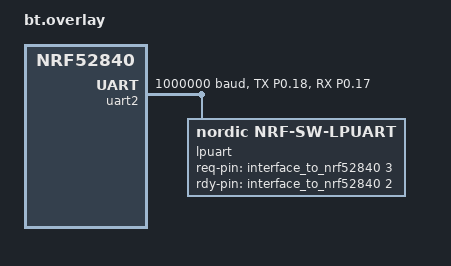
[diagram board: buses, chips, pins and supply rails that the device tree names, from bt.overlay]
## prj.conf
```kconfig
#
# Copyright (c) 2020 Nordic Semiconductor ASA
#
# SPDX-License-Identifier: LicenseRef-Nordic-5-Clause
#
# General config

CONFIG_MOSH_IPERF3=y
CONFIG_MOSH_SOCK=y
CONFIG_MOSH_PING=y
CONFIG_MOSH_CURL=y
CONFIG_MOSH_LINK=y
CONFIG_MOSH_SMS=y
CONFIG_MOSH_GNSS=y
CONFIG_MOSH_LOCATION=y

# Stacks and heaps
CONFIG_MAIN_STACK_SIZE=4096
CONFIG_HEAP_MEM_POOL_SIZE=8192

# System queue is used e.g. by AT monitor and SMS lib
CONFIG_SYSTEM_WORKQUEUE_STACK_SIZE=2048

# Shell configurations
CONFIG_SHELL=y
CONFIG_SHELL_WILDCARD=n
CONFIG_SHELL_PROMPT_UART="mosh:~$ "
CONFIG_SHELL_ARGC_MAX=40
# Command line buffer is set this large to enable writing of certificates and injecting A-GPS data on command line.
CONFIG_SHELL_CMD_BUFF_SIZE=3584
# Shell stack has impact for modem shell application, not CONFIG_MAIN_STACK_SIZE
CONFIG_SHELL_STACK_SIZE=9216
# Shell RX buffer needs to be increased to avoid problems with test automation
CONFIG_SHELL_BACKEND_SERIAL_RX_RING_BUFFER_SIZE=512
# LTE shell is unnecessary with Modem Shell
CONFIG_LTE_SHELL=n
# Enable use of vsnprintfcb() for extending mosh_print() format
CONFIG_CBPRINTF_LIBC_SUBSTS=y

CONFIG_MINIMAL_LIBC=n
CONFIG_NEWLIB_LIBC=y
CONFIG_NEWLIB_LIBC_FLOAT_SCANF=y
CONFIG_NEWLIB_LIBC_FLOAT_PRINTF=y
CONFIG_FPU=y
CONFIG_CJSON_LIB=y

# Getopt
CONFIG_GETOPT_LIB=y
# Need to disable devmem shell since it enforces Zephyr's internal version of getopt
CONFIG_DEVMEM_SHELL=n

# Device power management
CONFIG_PM_DEVICE=y

# Modem info
CONFIG_MODEM_INFO=y

# Modem key management
CONFIG_MODEM_KEY_MGMT=y

# Network
CONFIG_NETWORKING=y
CONFIG_NET_NATIVE=n
CONFIG_NET_SOCKETS=y
CONFIG_NET_SOCKETS_OFFLOAD=y
CONFIG_NET_SOCKETS_POSIX_NAMES=n
# Native IPv6 is enabled by default, disable it because we don't need it
CONFIG_NET_IPV6=n

CONFIG_POSIX_API=y
CONFIG_PTHREAD_IPC=n # There are issues with posix api if this is set
CONFIG_POSIX_MAX_FDS=10
# Need to be the same as MAX_FDS
CONFIG_NET_SOCKETS_POLL_MAX=10

# Modem library
CONFIG_NRF_MODEM_LIB=y
CONFIG_NRF_MODEM_LIB_SHMEM_TX_SIZE=22528
CONFIG_NRF_MODEM_LIB_SHMEM_RX_SIZE=8192
CONFIG_NRF_MODEM_LIB_ON_FAULT_APPLICATION_SPECIFIC=y
# Enable modem UART traces
CONFIG_NRF_MODEM_LIB_TRACE=n

# AT monitor library
CONFIG_AT_MONITOR=y

# Increase AT monitor heap because %NCELLMEAS notifications can be long.
# Note: with legacy NCELLMEAS types, 512 is enough, but with GCI search types
# it could be even longer: theoretical maximum of 4020 bytes.
CONFIG_AT_MONITOR_HEAP_SIZE=4096

# PDN library
CONFIG_PDN=y
CONFIG_PDN_ESM_STRERROR=y

# PDN library is dependent on AT hooks
CONFIG_AT_CMD_HOOK=y

# SMS
CONFIG_SMS=y

# LTE link control
CONFIG_LTE_LINK_CONTROL=y
CONFIG_LTE_NETWORK_MODE_LTE_M_GPS=y
CONFIG_LTE_MODE_PREFERENCE_AUTO=y

CONFIG_LTE_NETWORK_USE_FALLBACK=n

#MOSH is having own commands to enable these at runtime:
CONFIG_LTE_LC_MODEM_SLEEP_NOTIFICATIONS=n
CONFIG_LTE_LC_TAU_PRE_WARNING_NOTIFICATIONS=n

#Minimum values for thresholds:
CONFIG_LTE_LC_TAU_PRE_WARNING_THRESHOLD_MS=10240
CONFIG_LTE_LC_MODEM_SLEEP_NOTIFICATIONS_THRESHOLD_MS=10240

# Configurations useful for debugging and development that user can enable when needed
#CONFIG_LTE_LOCK_PLMN=y
#CONFIG_LTE_LOCK_PLMN_STRING="24488"
#CONFIG_LTE_NETWORK_MODE_LTE_M_GPS=y

CONFIG_DATE_TIME=y

# nRF Cloud A-GPS, disable this in case you want to enable SUPL below
CONFIG_NRF_CLOUD_AGPS=y

# SUPL A-GPS support, needs the nRF9160 SiP SUPL client library from nRF9160 DK product page
#CONFIG_SUPL_CLIENT_LIB=y

# Cellular positioning
CONFIG_LTE_NEIGHBOR_CELLS_MAX=17

# Cellular positioning services
#CONFIG_LOCATION_SERVICE_NRF_CLOUD=n
#CONFIG_LOCATION_SERVICE_HERE=y
#CONFIG_LOCATION_SERVICE_HERE_API_KEY=""

# Library for buttons and LEDs
CONFIG_DK_LIBRARY=y

# FOTA
CONFIG_FLASH=y
CONFIG_REBOOT=y
CONFIG_DFU_TARGET=y
CONFIG_FOTA_DOWNLOAD=y
CONFIG_DOWNLOAD_CLIENT=y
# BOOTLOADER_MCUBOOT reduces usable flash size by half so it's disabled by default
# This means application FOTA is disabled. Modem FOTA works without these.
CONFIG_BOOTLOADER_MCUBOOT=n
CONFIG_IMG_MANAGER=n
CONFIG_IMG_ERASE_PROGRESSIVELY=n

# Settings
CONFIG_FLASH=y
CONFIG_FLASH_MAP=y
CONFIG_MPU_ALLOW_FLASH_WRITE=y
CONFIG_NVS=y
CONFIG_SETTINGS=y
CONFIG_SETTINGS_NVS=y
CONFIG_NVS_LOG_LEVEL_WRN=y

# Debugging configurations
CONFIG_ASSERT=y
CONFIG_LOG=y
# Keep printk() synchronous
CONFIG_LOG_PRINTK=n
CONFIG_DEBUG_INFO=y
#CONFIG_DEBUG_OPTIMIZATIONS=y
#CONFIG_NO_OPTIMIZATIONS=y
#CONFIG_FORCE_NO_ASSERT=y
CONFIG_ASSERT_VERBOSE=y
#CONFIG_ASSERT_LEVEL=2
#CONFIG_ASSERT_ON_ERRORS=y
#CONFIG_FAULT_DUMP=2
CONFIG_RESET_ON_FATAL_ERROR=n
CONFIG_EXTRA_EXCEPTION_INFO=y
#CONFIG_WATCHDOG=y
CONFIG_SYS_HEAP_RUNTIME_STATS=y
```

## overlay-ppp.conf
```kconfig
#
# Copyright (c) 2020 Nordic Semiconductor
#
# SPDX-License-Identifier: LicenseRef-Nordic-5-Clause
#

# Enable PPP MoSH support:
CONFIG_MOSH_PPP=y
CONFIG_MOSH_IPERF3=y
CONFIG_MOSH_WORKER_THREADS=n
CONFIG_MOSH_SOCK=n
CONFIG_MOSH_PING=y
CONFIG_MOSH_CURL=n
CONFIG_MOSH_LINK=y
CONFIG_MOSH_GNSS=n
CONFIG_MOSH_SMS=n
CONFIG_MOSH_LOCATION=n
CONFIG_MOSH_REST=n
CONFIG_DATE_TIME=n
CONFIG_SMS=n

# UARTs are switched
CONFIG_NET_PPP_UART_NAME="UART_0"

# Enable net shell commands
CONFIG_NET_SHELL=y
CONFIG_NET_STATISTICS_PPP=y
CONFIG_NET_STATISTICS_USER_API=y

# Enable needed stuff from native net stack
CONFIG_NET_NATIVE=y
CONFIG_NET_STATISTICS=y
CONFIG_NET_STATISTICS_PPP=y
CONFIG_NET_STATISTICS_IPV4=n
CONFIG_NET_STATISTICS_ICMP=n
CONFIG_NET_STATISTICS_UDP=n

CONFIG_NET_LOG=y
CONFIG_NET_CONFIG_AUTO_INIT=y

CONFIG_NET_SOCKETS=y
CONFIG_NET_SOCKETS_PACKET=y
CONFIG_NET_SOCKETS_PACKET_DGRAM=n

CONFIG_NET_IF_MAX_IPV4_COUNT=2
CONFIG_NET_IF_MAX_IPV6_COUNT=2

CONFIG_NET_IPV4=y
CONFIG_NET_IPV6=y

CONFIG_NET_IP_ADDR_CHECK=n

CONFIG_NET_DRIVERS=y

# Default PPP net_if
CONFIG_NET_DEFAULT_IF_PPP=y
CONFIG_PPP_NET_IF_NO_AUTO_START=y

# Asynch UART API used for PPP
CONFIG_SERIAL=y

CONFIG_UART_ASYNC_API=y
CONFIG_UART_LINE_CTRL=y

CONFIG_UART_0_INTERRUPT_DRIVEN=n
CONFIG_UART_0_ASYNC=y
CONFIG_UART_0_NRF_HW_ASYNC=y
CONFIG_UART_0_NRF_HW_ASYNC_TIMER=1
#CONFIG_UART_0_NRF_ASYNC_LOW_POWER=y

CONFIG_NET_PPP_UART_BUF_LEN=2048
CONFIG_NET_PPP_ASYNC_UART_TX_BUF_LEN=4096

#CONFIG_NET_PPP_RX_PRIORITY=15
CONFIG_NET_PPP_DRV_NAME="ppp"
CONFIG_NET_PPP_RINGBUF_SIZE=4096
CONFIG_NET_PPP_RX_STACK_SIZE=2048
CONFIG_NET_PPP_VERIFY_FCS=n
#CONFIG_NET_PPP_ASYNC_UART_RX_ENABLE_TIMEOUT=10
#CONFIG_NET_PPP_ASYNC_UART_TX_TIMEOUT=10

#CONFIG_NRF_MODEM_LIB_SHMEM_TX_SIZE=32768
#CONFIG_NRF_MODEM_LIB_SHMEM_RX_SIZE=32768

# UART PPP driver
CONFIG_NET_PPP=y
CONFIG_NET_PPP_ASYNC_UART=y

# L2 protocol configs
CONFIG_NET_L2_PPP=y
CONFIG_NET_L2_PPP_MGMT=y
#CONFIG_NET_L2_PPP_TIMEOUT=5000
#CONFIG_NET_L2_PPP_DELAY_STARTUP_MS=5000

CONFIG_NET_L2_PPP_OPTION_MRU=y
CONFIG_NET_L2_PPP_OPTION_SERVE_IP=y
CONFIG_NET_L2_PPP_OPTION_SERVE_DNS=y
CONFIG_NET_L2_PPP_MAX_TERMINATE_REQ_RETRANSMITS=1

# Windows support
CONFIG_PPP_CLIENT_CLIENTSERVER=y

# Default PPP MRU option config
CONFIG_NET_PPP_MTU_MRU=1280

# Network buffers
CONFIG_NET_BUF=y
CONFIG_NET_BUF_DATA_SIZE=128
CONFIG_NET_BUF_POOL_USAGE=y

CONFIG_NET_PKT_RX_COUNT=44
CONFIG_NET_BUF_RX_COUNT=88

CONFIG_NET_PKT_TX_COUNT=44
CONFIG_NET_BUF_TX_COUNT=88

CONFIG_NET_TC_RX_COUNT=0

# UART traces cannot be enabled
CONFIG_NRF_MODEM_LIB_TRACE=n

# Debug options
CONFIG_NET_PPP_LOG_LEVEL_WRN=y
CONFIG_NET_L2_PPP_LOG_LEVEL_WRN=y
CONFIG_NET_CORE_LOG_LEVEL_WRN=y
CONFIG_NET_IF_LOG_LEVEL_WRN=y

CONFIG_NET_PKT_LOG_LEVEL_WRN=y
CONFIG_NET_DEBUG_NET_PKT_ALLOC=y

CONFIG_NET_CONTEXT_LOG_LEVEL_WRN=y
CONFIG_UART_CONSOLE_LOG_LEVEL_WRN=y

CONFIG_NET_BUF_LOG_LEVEL_OFF=y

CONFIG_NET_CONN_LOG_LEVEL_WRN=y
CONFIG_NET_BUF_WARN_ALLOC_INTERVAL=0

CONFIG_ASSERT=y
CONFIG_RESET_ON_FATAL_ERROR=n
CONFIG_LOG_PROCESS_THREAD_STACK_SIZE=4096
```

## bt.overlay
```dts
/*
 * Copyright (c) 2022 Nordic Semiconductor ASA
 *
 * SPDX-License-Identifier: LicenseRef-Nordic-5-Clause
 */

#include <nrf9160dk_nrf52840_reset_on_if5.dtsi>

/ {
	chosen {
		zephyr,bt-uart=&lpuart;
	};
};

&gpiote {
	interrupts = <49 NRF_DEFAULT_IRQ_PRIORITY>;
};

&uart2 {
	current-speed = <1000000>;
	status = "okay";
	/delete-property/ rts-pin;
	/delete-property/ cts-pin;
	/delete-property/ hw-flow-control;

	pinctrl-0 = <&uart2_default_alt>;
	pinctrl-1 = <&uart2_sleep_alt>;
	lpuart: nrf-sw-lpuart {
		compatible = "nordic,nrf-sw-lpuart";
		status = "okay";
		req-pin-gpios = <&interface_to_nrf52840 3 0>;
		rdy-pin-gpios = <&interface_to_nrf52840 2 0>;
	};
};
&uart1 {
	status = "disabled";
};

&pinctrl {
	uart2_default_alt: uart2_default_alt {
		group1 {
			psels = <NRF_PSEL(UART_TX, 0, 18)>,
				<NRF_PSEL(UART_RX, 0, 17)>;
		};
	};

	uart2_sleep_alt: uart2_sleep_alt {
		group1 {
			psels = <NRF_PSEL(UART_TX, 0, 18)>,
				<NRF_PSEL(UART_RX, 0, 17)>;
			low-power-enable;
		};
	};
};
```

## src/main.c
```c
/*
 * Copyright (c) 2020 Nordic Semiconductor ASA
 *
 * SPDX-License-Identifier: LicenseRef-Nordic-5-Clause
 */

#include <stdio.h>
#include <string.h>

#include <zephyr/kernel.h>
#include <zephyr/init.h>
#include <nrf_modem.h>

#include <sys/types.h>
#include <zephyr/logging/log_ctrl.h>
#include <zephyr/sys/reboot.h>
#include <zephyr/dfu/mcuboot.h>

#include <zephyr/shell/shell.h>
#if defined(CONFIG_SHELL_BACKEND_SERIAL)
#include <zephyr/shell/shell_uart.h>
#else
#include <zephyr/shell/shell_rtt.h>
#endif

#include <modem/nrf_modem_lib.h>
#include <modem/at_monitor.h>
#include <modem/modem_info.h>
#include <modem/lte_lc.h>

#include <net/nrf_cloud_os.h>

#include <dk_buttons_and_leds.h>
#include "uart/uart_shell.h"

#if defined(CONFIG_MOSH_PPP)
#include "ppp_ctrl.h"
#endif

#if defined(CONFIG_MOSH_LINK)
#include "link.h"
#endif

#if defined(CONFIG_MOSH_GNSS)
#include "gnss.h"
#endif

#if defined(CONFIG_MOSH_FOTA)
#include "fota.h"
#endif
#if defined(CONFIG_MOSH_WORKER_THREADS)
#include "th/th_ctrl.h"
#endif
#include "mosh_defines.h"
#include "mosh_print.h"

#if defined(CONFIG_MOSH_LOCATION)
#include "location_shell.h"
#endif

#if defined(CONFIG_MOSH_STARTUP_CMDS)
#include "startup_cmd_ctrl.h"
#endif

#if defined(CONFIG_MOSH_AT_CMD_MODE)
#include "at_cmd_mode.h"
#include "at_cmd_mode_sett.h"
#endif

BUILD_ASSERT(IS_ENABLED(CONFIG_SHELL_BACKEND_SERIAL) || IS_ENABLED(CONFIG_SHELL_BACKEND_RTT),
	     "CONFIG_SHELL_BACKEND_SERIAL or CONFIG_SHELL_BACKEND_RTT shell backend must be "
	     "enabled");

/***** Work queue and work item definitions *****/

#define MOSH_COMMON_WORKQ_PRIORITY CONFIG_MOSH_COMMON_WORKQUEUE_PRIORITY
K_THREAD_STACK_DEFINE(mosh_common_workq_stack, CONFIG_MOSH_COMMON_WORKQUEUE_STACK_SIZE);
struct k_work_q mosh_common_work_q;

/* Global variables */
const struct shell *mosh_shell;
struct k_poll_signal mosh_signal;

char mosh_at_resp_buf[MOSH_AT_CMD_RESPONSE_MAX_LEN];
K_MUTEX_DEFINE(mosh_at_resp_buf_mutex);

K_SEM_DEFINE(mosh_carrier_lib_initialized, 0, 1);

static const char *modem_crash_reason_get(uint32_t reason)
{
	switch (reason) {
	case NRF_MODEM_FAULT_UNDEFINED:
		return "Undefined fault";

	case NRF_MODEM_FAULT_HW_WD_RESET:
		return "HW WD reset";

	case NRF_MODEM_FAULT_HARDFAULT:
		return "Hard fault";

	case NRF_MODEM_FAULT_MEM_MANAGE:
		return "Memory management fault";

	case NRF_MODEM_FAULT_BUS:
		return "Bus fault";

	case NRF_MODEM_FAULT_USAGE:
		return "Usage fault";

	case NRF_MODEM_FAULT_SECURE_RESET:
		return "Secure control reset";

	case NRF_MODEM_FAULT_PANIC_DOUBLE:
		return "Error handler crash";

	case NRF_MODEM_FAULT_PANIC_RESET_LOOP:
		return "Reset loop";

	case NRF_MODEM_FAULT_ASSERT:
		return "Assert";

	case NRF_MODEM_FAULT_PANIC:
		return "Unconditional SW reset";

	case NRF_MODEM_FAULT_FLASH_ERASE:
		return "Flash erase fault";

	case NRF_MODEM_FAULT_FLASH_WRITE:
		return "Flash write fault";

	case NRF_MODEM_FAULT_POFWARN:
		return "Undervoltage fault";

	case NRF_MODEM_FAULT_THWARN:
		return "Overtemperature fault";

	default:
		return "Unknown reason";
	}
}

void nrf_modem_fault_handler(struct nrf_modem_fault_info *fault_info)
{
	printk("Modem crash reason: 0x%x (%s), PC: 0x%x\n",
		fault_info->reason,
		modem_crash_reason_get(fault_info->reason),
		fault_info->program_counter);

	__ASSERT(false, "Modem crash detected, halting application execution");
}

NRF_MODEM_LIB_ON_INIT(modem_shell_init_hook, on_modem_lib_init, NULL);

/* Initialized to value different than success (0) */
static int modem_lib_init_result = -1;

static void on_modem_lib_init(int ret, void *ctx)
{
	modem_lib_init_result = ret;
}

static void mosh_print_version_info(void)
{
#if defined(APP_VERSION)
	printk("\nMOSH version:       %s", STRINGIFY(APP_VERSION));
#else
	printk("\nMOSH version:       unknown");
#endif

#if defined(BUILD_ID)
	printk("\nMOSH build id:      v%s", STRINGIFY(BUILD_ID));
#else
	printk("\nMOSH build id:      custom");
#endif

#if defined(BUILD_VARIANT)
#if defined(BRANCH_NAME)
	printk("\nMOSH build variant: %s/%s\n\n", STRINGIFY(BRANCH_NAME), STRINGIFY(BUILD_VARIANT));
#else
	printk("\nMOSH build variant: %s\n\n", STRINGIFY(BUILD_VARIANT));
#endif
#else
	printk("\nMOSH build variant: dev\n\n");
#endif
}

#if defined(CONFIG_DK_LIBRARY)
static void button_handler(uint32_t button_states, uint32_t has_changed)
{
	if (has_changed & button_states & DK_BTN1_MSK) {
		mosh_print("Button 1 pressed - raising a kill signal");
		k_poll_signal_raise(&mosh_signal, MOSH_SIGNAL_KILL);
#if defined(CONFIG_MOSH_WORKER_THREADS)
		th_ctrl_kill_em_all();
#endif
	} else if (has_changed & ~button_states & DK_BTN1_MSK) {
		mosh_print("Button 1 released - resetting a kill signal");
		k_poll_signal_reset(&mosh_signal);
	}

	if (has_changed & button_states & DK_BTN2_MSK) {
		/* printk() used instead of mosh_print() which returns before the printing is
		 * actually finished and UART gets shut down in the meantime causing a jam.
		 */
		printk("\nButton 2 pressed, toggling UART power state\n");
		uart_toggle_power_state();
	}
}
#endif

void main(void)
{
	int err;
	struct k_work_queue_config cfg = {
		.name = "mosh_common_workq",
	};

#if defined(CONFIG_SHELL_BACKEND_SERIAL)
	mosh_shell = shell_backend_uart_get_ptr();
#else
	mosh_shell = shell_backend_rtt_get_ptr();
#endif

	__ASSERT(mosh_shell != NULL, "Failed to get shell backend");

	mosh_print_version_info();

#if defined(CONFIG_NRF_CLOUD_REST) || defined(CONFIG_NRF_CLOUD_MQTT)
#if defined(CONFIG_MOSH_IPERF3)
	/* Due to iperf3, we cannot let nrf cloud lib to initialize cJSON lib to be
	 * using kernel heap allocations (i.e. k_ prepending functions).
	 * Thus, we use standard c alloc/free, i.e. "system heap".
	 */
	struct nrf_cloud_os_mem_hooks hooks = {
		.malloc_fn = malloc,
		.calloc_fn = calloc,
		.free_fn = free,
	};
#else
	/* else: we default to Kernel heap */
	struct nrf_cloud_os_mem_hooks hooks = {
		.malloc_fn = k_malloc,
		.calloc_fn = k_calloc,
		.free_fn = k_free,
	};
#endif

	nrf_cloud_os_mem_hooks_init(&hooks);
#endif

	k_work_queue_start(
		&mosh_common_work_q,
		mosh_common_workq_stack,
		K_THREAD_STACK_SIZEOF(mosh_common_workq_stack),
		MOSH_COMMON_WORKQ_PRIORITY,
		&cfg);

#if !defined(CONFIG_LWM2M_CARRIER)
	/* Get Modem library initialization return value. */
	err = modem_lib_init_result;
	switch (err) {
	case 0:
		/* Modem library was initialized successfully. */
		break;
	case MODEM_DFU_RESULT_OK:
		printk("Modem firmware update successful!\n");
		printk("Modem will run the new firmware after reboot\n");
		sys_reboot(SYS_REBOOT_WARM);
		return;
	case MODEM_DFU_RESULT_UUID_ERROR:
	case MODEM_DFU_RESULT_AUTH_ERROR:
		printk("Modem firmware update failed!\n");
		printk("Modem will run non-updated firmware on reboot.\n");
		sys_reboot(SYS_REBOOT_WARM);
		return;
	case MODEM_DFU_RESULT_HARDWARE_ERROR:
	case MODEM_DFU_RESULT_INTERNAL_ERROR:
		printk("Modem firmware update failed!\n");
		printk("Fatal error.\n");
		sys_reboot(SYS_REBOOT_WARM);
		return;
	case MODEM_DFU_RESULT_VOLTAGE_LOW:
		printk("Modem firmware update failed\n");
		printk("Please reboot once you have sufficient power for the DFU\n");
		break;
	default:
		/* Modem library initialization failed. */
		printk("Could not initialize modemlib.\n");
		printk("Fatal error.\n");
		return;
	}
#else
	/* Wait until the LwM2M carrier library has initialized the modem library. */
	k_sem_take(&mosh_carrier_lib_initialized, K_FOREVER);
#endif
	lte_lc_init();
#if defined(CONFIG_MOSH_PPP)
	ppp_ctrl_init();
#endif
#if defined(CONFIG_MOSH_WORKER_THREADS)
	th_ctrl_init();
#endif
#if defined(CONFIG_MOSH_FOTA)
	err = fota_init();
	if (err) {
		printk("Could not initialize FOTA: %d\n", err);
	}
#endif

#if defined(CONFIG_MOSH_LOCATION)
	/* Location library should be initialized before LTE normal mode */
	location_ctrl_init();
#endif
#if defined(CONFIG_LTE_LINK_CONTROL) && defined(CONFIG_MOSH_LINK)
	link_init();
#endif

#if defined(CONFIG_MODEM_INFO)
	err = modem_info_init();
	if (err) {
		printk("Modem info could not be established: %d\n", err);
		return;
	}
#endif

#if defined(CONFIG_DK_LIBRARY)
	err = dk_buttons_init(button_handler);
	if (err) {
		printk("Failed to initialize DK buttons library, error: %d\n", err);
	}
	err = dk_leds_init();
	if (err) {
		printk("Cannot initialize LEDs (err: %d)\n", err);
	}
#endif
	/* Application started successfully, mark image as OK to prevent
	 * revert at next reboot.
	 */
#if defined(CONFIG_BOOTLOADER_MCUBOOT)
	boot_write_img_confirmed();
#endif
	k_poll_signal_init(&mosh_signal);

#if defined(CONFIG_SHELL_BACKEND_SERIAL)
	/* Resize terminal width and height of the shell to have proper command editing. */
	shell_execute_cmd(mosh_shell, "resize");
#endif

#if defined(CONFIG_MOSH_STARTUP_CMDS)
	startup_cmd_ctrl_init();
#endif

#if defined(CONFIG_MOSH_AT_CMD_MODE)
	at_cmd_mode_sett_init();
	if (at_cmd_mode_sett_is_autostart_enabled()) {
		/* Start directly in AT cmd mode */
		at_cmd_mode_start(mosh_shell);
	}
#endif
}
```

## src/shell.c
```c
/*
 * Copyright (c) 2020 Nordic Semiconductor ASA
 *
 * SPDX-License-Identifier: LicenseRef-Nordic-5-Clause
 */

#include <stdlib.h>

#include <zephyr.h>
#include <device.h>
#include <shell/shell.h>
#include <modem/lte_lc.h>
#include <modem/nrf_modem_lib.h>

#if defined(CONFIG_LWM2M_CARRIER)
#include <lwm2m_carrier.h>
#endif
#if defined(CONFIG_MOSH_PING)
#include "ping/icmp_ping_shell.h"
#endif
#if defined(CONFIG_MOSH_SOCK)
#include "sock/sock_shell.h"
#endif
#if defined(CONFIG_MOSH_IPERF3)
#include <posix/sys/select.h>
#include <iperf_api.h>
#endif
#if defined(CONFIG_MOSH_LINK)
#include "link_shell.h"
#endif
#if defined(CONFIG_MOSH_CURL)
#include <nrf_curl.h>
#endif
#if defined(CONFIG_MOSH_SMS)
#include "sms/sms_shell.h"
#endif
#if defined(CONFIG_MOSH_LOCATION)
#include "location_shell.h"
#endif
#if defined(CONFIG_MOSH_PPP)
#include "ppp/ppp_shell.h"
#endif
#if defined(CONFIG_MOSH_REST)
#include "rest_shell.h"
#endif
#include "uart/uart_shell.h"
#include "mosh_print.h"

extern struct k_sem nrf_modem_lib_initialized;
extern struct k_poll_signal mosh_signal;
/**
 * @brief Modem fault handler.
 */
void nrf_modem_fault_handler(struct nrf_modem_fault_info *fault_info)
{
	mosh_error("modem lib recoverable error: %u\n", fault_info->reason);
}

#if defined(CONFIG_LWM2M_CARRIER)
void lwm2m_print_err(const lwm2m_carrier_event_t *evt)
{
	const lwm2m_carrier_event_error_t *err = (lwm2m_carrier_event_error_t *)evt->data;

	static const char * const strerr[] = {
		[LWM2M_CARRIER_ERROR_NO_ERROR] =
			"No error",
		[LWM2M_CARRIER_ERROR_BOOTSTRAP] =
			"Bootstrap error",
		[LWM2M_CARRIER_ERROR_CONNECT_FAIL] =
			"Failed to connect to the LTE network",
		[LWM2M_CARRIER_ERROR_DISCONNECT_FAIL] =
			"Failed to disconnect from the LTE network",
		[LWM2M_CARRIER_ERROR_FOTA_PKG] =
			"Package refused from modem",
		[LWM2M_CARRIER_ERROR_FOTA_PROTO] =
			"Protocol error",
		[LWM2M_CARRIER_ERROR_FOTA_CONN] =
			"Connection to remote server failed",
		[LWM2M_CARRIER_ERROR_FOTA_CONN_LOST] =
			"Connection to remote server lost",
		[LWM2M_CARRIER_ERROR_FOTA_FAIL] =
			"Modem firmware update failed",
	};

	mosh_error("%s, reason %d\n", strerr[err->code], err->value);
}

void lwm2m_print_deferred(const lwm2m_carrier_event_t *evt)
{
	const lwm2m_carrier_event_deferred_t *def = (lwm2m_carrier_event_deferred_t *)evt->data;

	static const char *const strdef[] = {
		[LWM2M_CARRIER_DEFERRED_NO_REASON] =
			"No reason given",
		[LWM2M_CARRIER_DEFERRED_PDN_ACTIVATE] =
			"Failed to activate PDN",
		[LWM2M_CARRIER_DEFERRED_BOOTSTRAP_NO_ROUTE] =
			"No route to bootstrap server",
		[LWM2M_CARRIER_DEFERRED_BOOTSTRAP_CONNECT] =
			"Failed to connect to bootstrap server",
		[LWM2M_CARRIER_DEFERRED_BOOTSTRAP_SEQUENCE] =
			"Bootstrap sequence not completed",
		[LWM2M_CARRIER_DEFERRED_SERVER_NO_ROUTE] =
			"No route to server",
		[LWM2M_CARRIER_DEFERRED_SERVER_CONNECT] =
			"Failed to connect to server",
		[LWM2M_CARRIER_DEFERRED_SERVER_REGISTRATION] =
			"Server registration sequence not completed",
		[LWM2M_CARRIER_DEFERRED_SERVICE_UNAVAILABLE] =
			"Server in maintenance mode",
		[LWM2M_CARRIER_DEFERRED_SIM_MSISDN] =
			"Waiting for SIM MSISDN",
	};

	mosh_error("Reason: %s, timeout: %d seconds\n", strdef[def->reason], def->timeout);
}

int lwm2m_carrier_event_handler(const lwm2m_carrier_event_t *event)
{
	switch (event->type) {
	case LWM2M_CARRIER_EVENT_MODEM_INIT:
		mosh_print("LwM2M carrier event: modem lib initialized");
		break;
	case LWM2M_CARRIER_EVENT_CONNECTING:
		mosh_print("LwM2M carrier event: connecting");
		k_sem_give(&nrf_modem_lib_initialized);
		break;
	case LWM2M_CARRIER_EVENT_CONNECTED:
		mosh_print("LwM2M carrier event: connected");
		break;
	case LWM2M_CARRIER_EVENT_DISCONNECTING:
		mosh_print("LwM2M carrier event: disconnecting");
		break;
	case LWM2M_CARRIER_EVENT_DISCONNECTED:
		mosh_print("LwM2M carrier event: disconnected");
		break;
	case LWM2M_CARRIER_EVENT_BOOTSTRAPPED:
		mosh_print("LwM2M carrier event: bootstrapped");
		break;
	case LWM2M_CARRIER_EVENT_LTE_READY:
		mosh_print("LwM2M carrier event: LTE ready");
		break;
	case LWM2M_CARRIER_EVENT_REGISTERED:
		mosh_print("LwM2M carrier event: registered");
		break;
	case LWM2M_CARRIER_EVENT_DEFERRED:
		mosh_print("LwM2M carrier event: deferred");
		lwm2m_print_deferred(event);
		break;
	case LWM2M_CARRIER_EVENT_FOTA_START:
		mosh_print("LwM2M carrier event: fota start");
		break;
	case LWM2M_CARRIER_EVENT_REBOOT:
		mosh_print("LwM2M carrier event: reboot");
		break;
	case LWM2M_CARRIER_EVENT_ERROR:
		mosh_print("LwM2M carrier event: error");
		lwm2m_print_err(event);
		break;
	}

	return 0;
}
#endif

#if defined(CONFIG_MOSH_IPERF3)
static int cmd_iperf3(const struct shell *shell, size_t argc, char **argv)
{
	(void)iperf_main(argc, argv, NULL, 0, &mosh_signal);
	return 0;
}
#endif

#if defined(CONFIG_MOSH_CURL)
static int cmd_curl(const struct shell *shell, size_t argc, char **argv)
{
	(void)curl_tool_main(argc, argv, &mosh_signal);
	mosh_print("\nDONE");
	return 0;
}
SHELL_CMD_REGISTER(curl, NULL, "For curl usage, just type \"curl --manual\"", cmd_curl);
#endif

#if defined(CONFIG_MOSH_SOCK)
SHELL_CMD_REGISTER(sock, NULL,
	"Commands for socket operations such as connect and send.",
	sock_shell);
#endif

#if defined(CONFIG_MOSH_PING)
SHELL_CMD_REGISTER(ping, NULL, "For ping usage, just type \"ping\"", icmp_ping_shell);
#endif

#if defined(CONFIG_MOSH_LINK)
SHELL_CMD_REGISTER(link, NULL,
	"Commands for LTE link controlling and status information.",
	link_shell);
#endif

#if defined(CONFIG_MOSH_IPERF3)
SHELL_CMD_REGISTER(iperf3, NULL, "For iperf3 usage, just type \"iperf3 --manual\"", cmd_iperf3);
#endif

#if defined(CONFIG_MOSH_SMS)
SHELL_CMD_REGISTER(sms, NULL, "Commands for sending and receiving SMS.", sms_shell);
#endif

#if defined(CONFIG_MOSH_LOCATION)
SHELL_CMD_REGISTER(location, NULL,
	"Commands for using the Location library.",
	location_shell);
#endif

#if defined(CONFIG_MOSH_PPP)
SHELL_CMD_REGISTER(ppp, NULL,
	"Commands for controlling PPP.",
	ppp_shell_cmd);
#endif

#if defined(CONFIG_MOSH_REST)
SHELL_CMD_REGISTER(rest, NULL,
	"REST client.",
	rest_shell);
#endif
```
